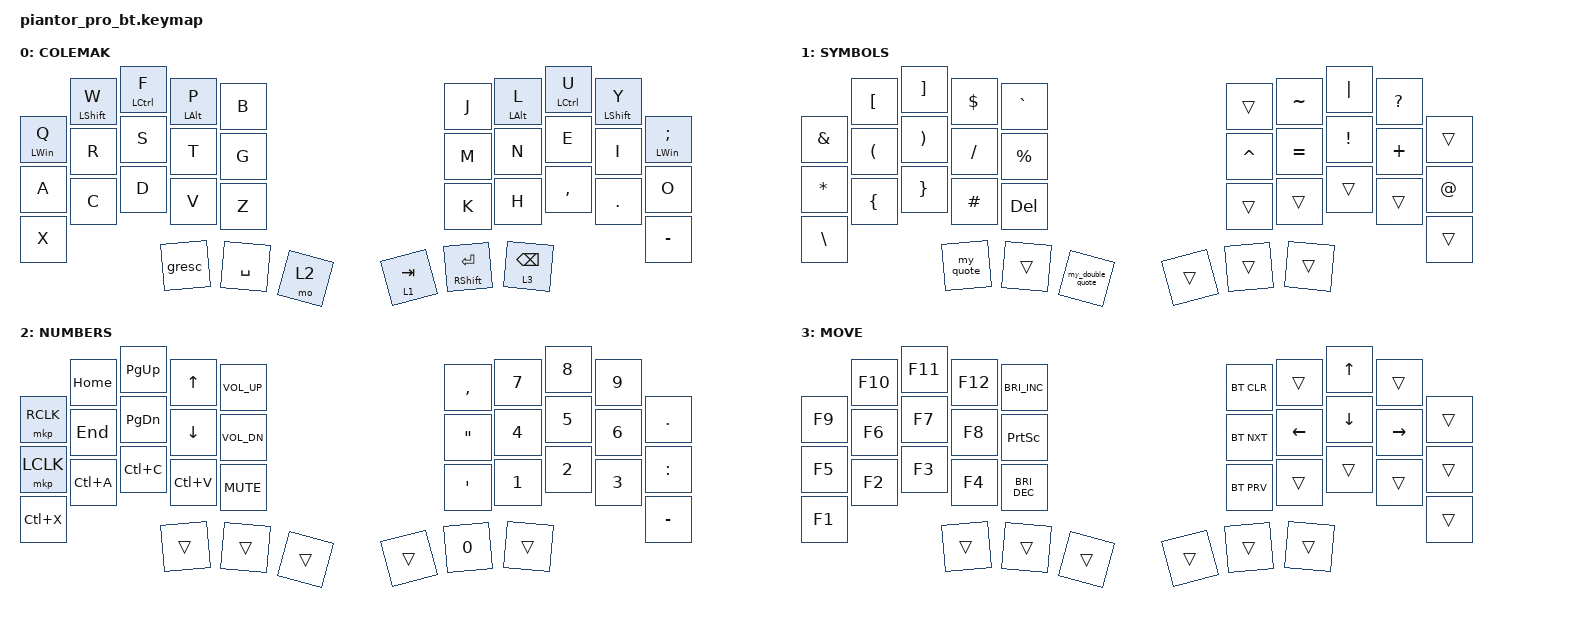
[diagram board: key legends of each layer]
/*
 * Copyright (c) 2020 The ZMK Contributors
 *
 * SPDX-License-Identifier: MIT
 */

#include <behaviors.dtsi>
#include <dt-bindings/zmk/bt.h>
#include <dt-bindings/zmk/keys.h>
#include <dt-bindings/zmk/pointing.h>

&lt {
    tapping-term-ms = <150>;
    quick-tap-ms = <150>;
};

&gresc {
    bindings = <&kp ESC>, <&kp LS(MINUS)>;
};

&mt {
    tapping-term-ms = <150>;
    quick-tap-ms = <150>;
    hold-trigger-on-release;
};

/ {
    chosen { zmk,physical-layout = &default_layout; };
};

/ {
    macros {
        my_quote: my_quote {
            compatible = "zmk,behavior-macro";
            #binding-cells = <0>;
            bindings = <&kp SQT &kp SPACE>;
            label = "MY_QUOTE";
        };

        my_double_quote: my_double_quote {
            compatible = "zmk,behavior-macro";
            #binding-cells = <0>;
            bindings = <&kp LS(SQT) &kp SPACE>;
            label = "MY_DOUBLE_QUOTE";
        };
    };

    behaviors {
        tap_hold_custom_left: tap_hold_custom_left {
            compatible = "zmk,behavior-hold-tap";
            label = "TAP_HOLD_CUSTOM_LEFT";
            bindings = <&kp>, <&kp>;

            #binding-cells = <2>;
            tapping-term-ms = <150>;
            flavor = "balanced";
            hold-trigger-key-positions = <5 6 7 8 9 15 16 17 18 19 25 26 27 28 29 34 35 33>;
            quick-tap-ms = <150>;
            hold-trigger-on-release;
        };

        tap_hold_custom_right: tap_hold_custom_right {
            compatible = "zmk,behavior-hold-tap";
            label = "TAP_HOLD_CUSTOM_RIGHT";
            bindings = <&kp>, <&kp>;

            #binding-cells = <2>;
            tapping-term-ms = <150>;
            flavor = "balanced";
            hold-trigger-on-release;
            hold-trigger-key-positions = <0 1 2 3 4 10 11 12 13 14 20 21 22 23 24 30 31 32>;
            quick-tap-ms = <150>;
        };
    };

    keymap {
        compatible = "zmk,keymap";

        colemak {
            display-name = "COLEMAK";
            bindings = <
  &tap_hold_custom_left LEFT_WIN Q  &tap_hold_custom_left LEFT_SHIFT W  &tap_hold_custom_left LEFT_CONTROL F  &tap_hold_custom_left LEFT_ALT P  &kp B  &kp J  &tap_hold_custom_right LEFT_ALT L  &tap_hold_custom_right LEFT_CONTROL U  &tap_hold_custom_right LEFT_SHIFT Y  &tap_hold_custom_right LEFT_WIN SEMICOLON      &kp A  &kp R  &kp S  &kp T  &kp G  &kp M  &kp N  &kp E  &kp I  &kp O      &kp X  &kp C  &kp D  &kp V  &kp Z  &kp K  &kp H  &kp COMMA  &kp DOT  &kp MINUS    &gresc  &kp SPACE  &mo 2  &lt 1 TAB  &mt RIGHT_SHIFT ENTER  &lt 3 BACKSPACE
            >;
        };

        symbols {
            display-name = "SYMBOLS";
            bindings = <
  &kp AMPERSAND  &kp LEFT_BRACKET  &kp RIGHT_BRACKET  &kp DOLLAR  &kp GRAVE  &trans  &kp TILDE  &kp PIPE  &kp QUESTION  &trans      &kp ASTERISK  &kp LEFT_PARENTHESIS  &kp RIGHT_PARENTHESIS  &kp SLASH  &kp PERCENT  &kp CARET  &kp EQUAL  &kp EXCLAMATION  &kp PLUS  &kp AT_SIGN      &kp BACKSLASH  &kp LEFT_BRACE  &kp RIGHT_BRACE  &kp POUND  &kp DELETE  &trans  &trans  &trans  &trans  &trans    &my_quote  &trans  &my_double_quote  &trans  &trans  &trans
            >;
        };

        numbers {
            bindings = <
  &mkp RCLK  &kp HOME  &kp PAGE_UP  &kp UP_ARROW  &kp C_VOLUME_UP  &kp COMMA  &kp N7  &kp N8  &kp N9  &kp PERIOD      &mkp LCLK  &kp END  &kp PAGE_DOWN  &kp DOWN_ARROW  &kp C_VOL_DN  &kp DOUBLE_QUOTES  &kp NUMBER_4  &kp N5  &kp NUMBER_6  &kp COLON      &kp LC(X)  &kp LC(A)  &kp LC(C)  &kp LC(V)  &kp C_MUTE  &kp SQT  &kp NUMBER_1  &kp NUMBER_2  &kp NUMBER_3  &kp MINUS    &trans  &trans  &trans  &trans  &kp N0  &trans
            >;

            label = "NUMBERS";
        };

        movement {
            bindings = <
  &kp F9  &kp F10  &kp F11  &kp F12  &kp C_BRIGHTNESS_INC  &bt BT_CLR  &trans  &kp UP_ARROW  &trans  &trans      &kp F5  &kp F6  &kp F7  &kp F8  &kp PRINTSCREEN  &bt BT_NXT  &kp LEFT  &kp DOWN  &kp RIGHT  &trans      &kp F1  &kp F2  &kp F3  &kp F4  &kp C_BRIGHTNESS_DEC  &bt BT_PRV  &trans  &trans  &trans  &trans    &trans  &trans  &trans  &trans  &trans  &trans
            >;

            label = "MOVE";
        };
    };
};
